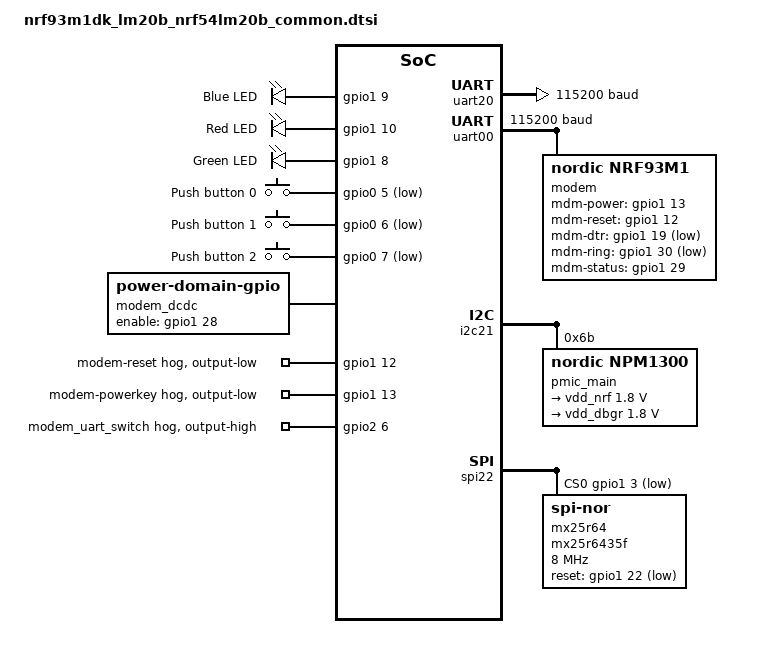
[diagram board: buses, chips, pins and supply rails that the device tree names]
/*
 * Copyright (c) 2026 Nordic Semiconductor ASA
 *
 * SPDX-License-Identifier: Apache-2.0
 */

#include "nrf93m1dk_lm20b_nrf54lm20b-pinctrl.dtsi"
#include <zephyr/dt-bindings/regulator/npm13xx.h>

/ {
	leds {
		compatible = "gpio-leds";
		status = "okay";

		led0: led_0 {
			gpios = <&gpio1 9 GPIO_ACTIVE_HIGH>;
			label = "Blue LED";
		};

		led1: led_1 {
			gpios = <&gpio1 10 GPIO_ACTIVE_HIGH>;
			label = "Red LED";
		};

		led2: led_2 {
			gpios = <&gpio1 8 GPIO_ACTIVE_HIGH>;
			label = "Green LED";
		};
	};

	buttons {
		compatible = "gpio-keys";
		status = "okay";

		button0: button_0 {
			gpios = <&gpio0 5 (GPIO_PULL_UP | GPIO_ACTIVE_LOW)>;
			label = "Push button 0";
			zephyr,code = <INPUT_KEY_0>;
		};

		button1: button_1 {
			gpios = <&gpio0 6 (GPIO_PULL_UP | GPIO_ACTIVE_LOW)>;
			label = "Push button 1";
			zephyr,code = <INPUT_KEY_1>;
		};

		button2: button_2 {
			gpios = <&gpio0 7 (GPIO_PULL_UP | GPIO_ACTIVE_LOW)>;
			label = "Push button 2";
			zephyr,code = <INPUT_KEY_2>;
		};
	};

	modem_dcdc: modem_dcdc {
		compatible = "power-domain-gpio";
		enable-gpios = <&gpio1 28 GPIO_ACTIVE_HIGH>;
		#power-domain-cells = <0>;
		startup-delay-us = <100000>; /* wait for 100ms to stabilize dcdc supply */
		off-on-delay-us = <500000>; /* wait for 500ms to stabilize main supply */
	};

	aliases {
		led0 = &led0;
		led1 = &led1;
		led2 = &led2;
		sw0 = &button0;
		sw1 = &button1;
		sw2 = &button2;
		watchdog0 = &wdt31;
		i2c-controller = &i2c21;
		modem-uart = &uart00;
		battery = &npm1300_charger;
		modem = &modem;
	};
};

&gpio1 {
	modem-reset {
		gpio-hog;
		gpios = <12 GPIO_ACTIVE_HIGH>;
		output-low;
	};

	modem-powerkey {
		gpio-hog;
		gpios = <13 GPIO_ACTIVE_HIGH>;
		output-low;
	};
};

&gpio2 {
	modem_uart_switch: modem-uart-switch {
		gpio-hog;
		gpios = <6 GPIO_ACTIVE_HIGH>;
		output-high;
	};
};

&uart20 {
	current-speed = <115200>;
	pinctrl-0 = <&uart20_default>;
	pinctrl-1 = <&uart20_sleep>;
	pinctrl-names = "default", "sleep";
};

&uart00 {
	status = "okay";
	current-speed = <115200>;
	hw-flow-control;
	pinctrl-0 = <&uart00_default>;
	pinctrl-1 = <&uart00_sleep>;
	pinctrl-names = "default", "sleep";

	modem: modem {
		compatible = "nordic,nrf93m1";
		power-domains = <&modem_dcdc>;
		mdm-power-gpios = <&gpio1 13 GPIO_ACTIVE_HIGH>;
		mdm-reset-gpios = <&gpio1 12 GPIO_ACTIVE_HIGH>;
		mdm-dtr-gpios = <&gpio1 19 GPIO_ACTIVE_LOW>;
		mdm-ring-gpios = <&gpio1 30 GPIO_ACTIVE_LOW>;
		mdm-status-gpios = <&gpio1 29 GPIO_ACTIVE_HIGH>;
	};
};

&i2c21 {
	pinctrl-0 = <&i2c21_default>;
	pinctrl-1 = <&i2c21_sleep>;
	pinctrl-names = "default", "sleep";
	zephyr,concat-buf-size = <256>;
	status = "okay";

	pmic_main: npm1300@6b {
		compatible = "nordic,npm1300";
		status = "okay";
		reg = <0x6b>;

		regulators {
			compatible = "nordic,npm1300-regulator";
			status = "okay";

			/* Main 1.8 V regulator */
			vdd_nrf: BUCK1 {
				regulator-min-microvolt = <1800000>;
				regulator-max-microvolt = <1800000>;
				regulator-always-on;
			};

			vdd_dbgr: BUCK2 {
				regulator-min-microvolt = <1800000>;
				regulator-max-microvolt = <1800000>;
				regulator-always-on;
			};

			/* LDO1 is used for powering the LEDs and level shifters */
			ldo1_3v3: LDO1 {
				regulator-initial-mode = <NPM13XX_LDSW_MODE_LDO>;
				regulator-allowed-modes = <NPM13XX_LDSW_MODE_LDO>;
				regulator-init-microvolt = <3300000>;
				regulator-boot-on;
			};
		};

		npm1300_charger: charger {
			compatible = "nordic,npm1300-charger";
			status = "okay";
			vbus-limit-microamp = <1500000>;
			/* Battery specs from LiPol LP803448 datasheet (Dwg. nr. FD_3245_70) */
			term-microvolt = <4200000>;
			current-microamp = <675000>; /* 0.5C charging current */
			dischg-limit-microamp = <1000000>; /* Maximum value for PMIC */
			thermistor-cold-millidegrees = <0>;
			thermistor-cool-millidegrees = <0>;
			thermistor-warm-millidegrees = <45000>;
			thermistor-hot-millidegrees = <45000>;
			thermistor-ohms = <10000>;
			thermistor-beta = <3435>;
			charging-enable;
		};
	};
};

/*
 * The bus is shared between the external flash (CS index 0) and the pin header
 * (CS index 1). Devices on the header use reg = <1>.
 */
header_spi: &spi22 {
	status = "okay";
	cs-gpios = <&gpio1 3 GPIO_ACTIVE_LOW>,
		   <&gpio1 23 GPIO_ACTIVE_LOW>;
	pinctrl-0 = <&spi22_default>;
	pinctrl-1 = <&spi22_sleep>;
	pinctrl-names = "default", "sleep";

	mx25r64: mx25r6435f@0 {
		compatible = "jedec,spi-nor";
		status = "okay";
		reg = <0>;
		spi-max-frequency = <8000000>;
		jedec-id = [c2 28 17];
		sfdp-bfp = [e5 20 f1 ff ff ff ff 03 44 eb 08 6b 08 3b 04 bb
			    ee ff ff ff ff ff 00 ff ff ff 00 ff 0c 20 0f 52
			    10 d8 00 ff 23 72 f5 00 82 ed 04 cc 44 83 48 44
			    30 b0 30 b0 f7 c4 d5 5c 00 be 29 ff f0 d0 ff ff];
		size = <67108864>;
		has-dpd;
		t-enter-dpd = <10000>;
		t-exit-dpd = <35000>;
		reset-gpios = <&gpio1 22 GPIO_ACTIVE_LOW>;
	};
};
